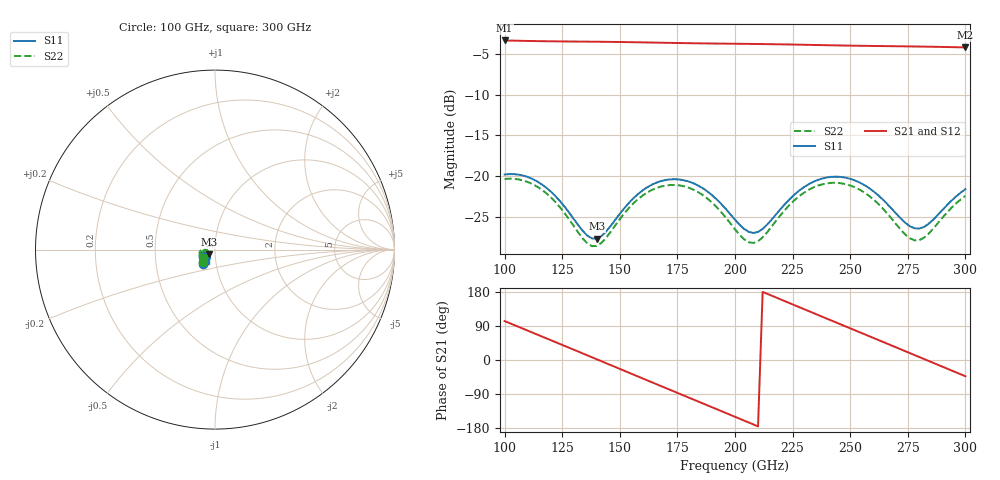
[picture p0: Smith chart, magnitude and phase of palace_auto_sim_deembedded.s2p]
! Created with skrf 1.11.0 (http://scikit-rf.org).
# GHz S DB R 50.0
!freq dBS11 angS11 dBS21 angS21 dBS12 angS12 dBS22 angS22
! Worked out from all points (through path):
!   101 points, 100 GHz to 300 GHz, reference 50 ohm
!   highest |S21| = -3.29 dB at 100 GHz (marker M1); lowest = -4.1 dB at 300 GHz (marker M2)
!   group delay of S21, straight-line fit = 7.02 ps
!   lowest |S11| = -27.7 dB at 140 GHz (marker M3), VSWR 1.09, Z = 46.9 - j2.52 ohm
!   |S11| at or under -10 dB: start of sweep to end of sweep
!   |S22| runs from -28.6 to -20.3 dB; largest |S21 - S12| = 7.8e-14
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100  -19.82 -130.4  -3.29 102.8  -3.29 102.8  -20.36 -135.8
108  -19.94 -144.3  -3.34 82.6  -3.34 82.6  -20.54 -150.4
116  -21.00 -156.8  -3.38 62.5  -3.38 62.5  -21.66 -163.5
126  -23.76 -165.7  -3.41 37.3  -3.41 37.3  -24.55 -173.1
134  -26.79 -158.2  -3.43 17.1  -3.43 17.1  -27.73 -165.4
140  -27.71 -139.3  -3.45 1.9  -3.45 1.9  -28.61 -145.5
152  -23.95 -119.5  -3.49 -28.5  -3.49 -28.5  -24.59 -126.9
168  -20.61 -135.5  -3.57 -69.1  -3.57 -69.1  -21.28 -145.0
176  -20.43 -147.1  -3.61 -89.3  -3.61 -89.3  -21.16 -157.6
184  -21.17 -157.9  -3.64 -109.5  -3.64 -109.5  -21.98 -169.2
200  -25.37 -163.0  -3.70 -149.9  -3.70 -149.9  -26.56 -174.9
208  -27.02 -144.5  -3.72 -170.1  -3.72 -170.1  -28.25 -154.3
216  -25.34 -125.8  -3.75 169.6  -3.75 169.6  -26.20 -135.4
224  -22.77 -123.4  -3.79 149.3  -3.79 149.3  -23.47 -134.6
234  -20.71 -132.4  -3.84 124.0  -3.84 124.0  -21.40 -145.5
242  -20.10 -143.0  -3.89 103.8  -3.89 103.8  -20.84 -157.2
250  -20.34 -153.7  -3.93 83.6  -3.93 83.6  -21.16 -169.0
258  -21.45 -162.6  -3.96 63.4  -3.96 63.4  -22.39 -178.9
268  -24.03 -165.9  -4.00 38.2  -4.00 38.2  -25.26 177.1
280  -26.47 -143.7  -4.04 7.8  -4.04 7.8  -27.89 -157.8
290  -24.19 -126.0  -4.09 -17.5  -4.09 -17.5  -25.15 -140.3
300  -21.62 -128.2  -4.15 -42.8  -4.15 -42.8  -22.46 -144.8
